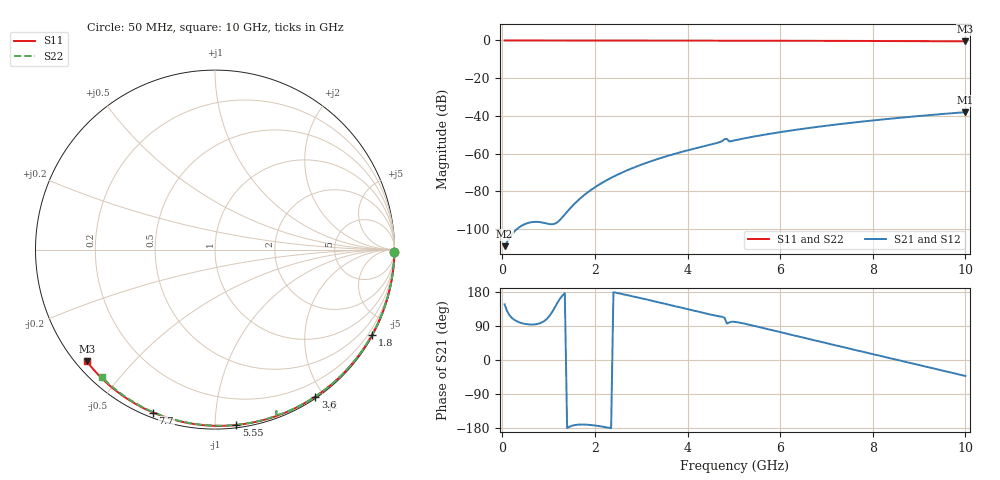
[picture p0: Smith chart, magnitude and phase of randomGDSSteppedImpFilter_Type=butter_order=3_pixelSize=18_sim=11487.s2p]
! freq	dB(S11)	phase(S11)	dB(S12)	phase(S12)
!  dB(S21)	phase(S21)	dB(S22)	phase(S22)
!S-par simulation data
#  GHz  S  DB  R 50
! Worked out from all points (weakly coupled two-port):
!   200 points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, 50 MHz to 10 GHz, reference 50 ohm
!   highest |S21| = -38.05 dB at 10 GHz (marker M1); lowest = -109.1 dB at 50 MHz (marker M2)
!   lowest |S11| = -0.5 dB at 10 GHz (marker M3), VSWR 37.02, Z = 1.54 - j18.7 ohm
!   |S11| at or under -10 dB: nowhere
!   |S22| runs from -0.4 to 0.0 dB; largest |S21 - S12| = 0
!   S11 on the Smith chart (normalised r, x): 50 MHz: open; 1.8 GHz: 0.03, -3.94; 3.6 GHz: 0.02, -1.89; 5.55 GHz: 0.02, -1.13; 7.7 GHz: 0.02, -0.69; 10 GHz: 0.03, -0.37
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0.05  -0.00 -0.8  -109.14 147.0  -109.14 147.0  -0.00 -0.8
0.9  -0.02 -14.4  -96.77 102.3  -96.77 102.3  -0.02 -13.6
1.75  -0.04 -27.7  -82.40 -170.3  -82.40 -170.3  -0.03 -26.2
1.8  -0.04 -28.5  -81.41 -170.5  -81.41 -170.5  -0.03 -27.0
1.9  -0.04 -30.1  -79.58 -171.4  -79.58 -171.4  -0.04 -28.4
2.25  -0.05 -35.4  -74.20 -177.7  -74.20 -177.7  -0.04 -33.5
2.65  -0.05 -41.5  -69.39 172.5  -69.39 172.5  -0.05 -39.3
3  -0.06 -46.8  -65.92 162.9  -65.92 162.9  -0.06 -44.3
3.4  -0.07 -52.7  -62.55 151.6  -62.55 151.6  -0.07 -49.9
3.6  -0.08 -55.7  -61.04 145.8  -61.04 145.8  -0.07 -52.7
4.65  -0.10 -70.7  -54.28 116.0  -54.28 116.0  -0.10 -67.2
4.75  -0.11 -72.1  -53.35 113.9  -53.35 113.9  -0.13 -68.8
4.8  -0.11 -72.8  -52.37 111.3  -52.37 111.3  -0.20 -69.8
4.85  -0.11 -73.5  -52.24 96.2  -52.24 96.2  -0.34 -69.1
4.9  -0.11 -74.2  -53.56 98.9  -53.56 98.9  -0.16 -69.6
5.05  -0.12 -76.2  -52.83 100.2  -52.83 100.2  -0.12 -72.0
5.55  -0.14 -83.0  -50.46 86.9  -50.46 86.9  -0.13 -78.6
6.7  -0.19 -98.2  -46.18 53.2  -46.18 53.2  -0.18 -93.1
7.7  -0.25 -110.8  -43.23 24.1  -43.23 24.1  -0.24 -105.1
8.35  -0.30 -118.9  -41.58 5.5  -41.58 5.5  -0.29 -112.7
9.2  -0.38 -129.3  -39.65 -18.8  -39.65 -18.8  -0.36 -122.5
10  -0.47 -138.9  -38.05 -42.1  -38.05 -42.1  -0.45 -131.5
